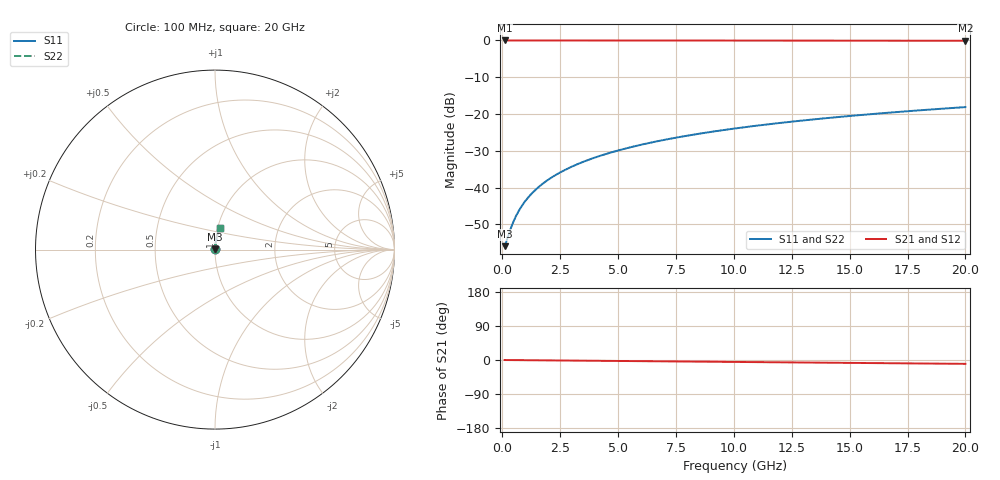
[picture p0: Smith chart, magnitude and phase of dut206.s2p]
! Touchstone file exported from HFSS 2026.1.0
!  File:  C:/ffzhzh/LocalFiles/Ansys_Project_Files/temp_train_TSV_206_1782991855_41620.aedt
!  Generated:  07:32:54 PM Jul  2, 2026
!  Design:  TSV
!  Project:  temp_train_TSV_206_1782991855_41620
! Variables:
!  h_bsmrdl = 2um
!  h_ox = 20um
!  h_rdl = 5um
!  h_sub = 67.53um
!  h_tmrdl = 5um
!  h_tsv = 67.53um
!  h_via = 3um
!  l_bsmrdl = 300um
!  l_sub = 404.64um
!  l_tmrdl = 200um
!  m_sub = 200um
!  pitch = 44.41um
!  r_tsv = 2.32um
!  s_tmrdl = 10um
!  w_bsmrdl = 18um
!  w_sub = 500um
!  w_tmrdl = 12um
!  x_tsv_center1 = 206um
!  x_tsv_center2 = 524um
!  x_tsv_center3 = 736um
!  x_tsv_center4 = 1054um
!  x_tsv_center5 = 1266um
!  x_tsv_center6 = 1584um
# GHz S MA R 50.000000
! Terminal data exported
! Port[1] = TSV1_1_T1
! Port[2] = TSV1_1_T2
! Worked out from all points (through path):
!   200 points, 100 MHz to 20 GHz, reference 50 ohm
!   highest |S21| = -0.01 dB at 100 MHz (marker M1); lowest = -0.1 dB at 20 GHz (marker M2)
!   group delay of S21, straight-line fit = 1.41 ps
!   lowest |S11| = -56.0 dB at 100 MHz (marker M3), VSWR 1.00, Z = 50.1 + j0.0647 ohm
!   |S11| at or under -10 dB: start of sweep to end of sweep
!   |S22| runs from -56.0 to -18.1 dB; largest |S21 - S12| = 3.4e-15
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0.1  0.001593 23.9  0.9985 -0.1  0.9985 -0.1  0.001593 23.9
! Gamma 0 0 0 0
! Port Impedance 50 0 50 0
0.4  0.002967 60.1  0.9985 -0.2  0.9985 -0.2  0.002967 60.1
0.5  0.003541 65.1  0.9985 -0.3  0.9985 -0.3  0.003541 65.1
0.6  0.004133 68.7  0.9985 -0.3  0.9985 -0.3  0.004133 68.7
0.7  0.004736 71.3  0.9985 -0.4  0.9985 -0.4  0.004736 71.3
0.9  0.005963 75.0  0.9985 -0.5  0.9985 -0.5  0.005963 75.0
1.2  0.007831 78.2  0.9985 -0.6  0.9985 -0.6  0.007831 78.2
1.4  0.009085 79.6  0.9984 -0.7  0.9984 -0.7  0.009085 79.6
1.7  0.01097 81.1  0.9984 -0.9  0.9984 -0.9  0.01097 81.1
2.2  0.01414 82.5  0.9983 -1.1  0.9983 -1.1  0.01414 82.5
2.8  0.01794 83.5  0.9982 -1.4  0.9982 -1.4  0.01794 83.5
3.5  0.02237 84.0  0.9981 -1.8  0.9981 -1.8  0.02237 84.0
4.2  0.02681 84.2  0.9979 -2.2  0.9979 -2.2  0.02681 84.2
5  0.03187 84.2  0.9977 -2.6  0.9977 -2.6  0.03187 84.2
5.9  0.03755 84.1  0.9974 -3.0  0.9974 -3.0  0.03755 84.1
6.8  0.04321 83.9  0.9971 -3.5  0.9971 -3.5  0.04321 83.9
8.3  0.0526 83.4  0.9965 -4.3  0.9965 -4.3  0.0526 83.4
10.1  0.0638 82.7  0.9956 -5.2  0.9956 -5.2  0.0638 82.7
11.7  0.07368 82.0  0.9947 -6.0  0.9947 -6.0  0.07368 82.0
13.4  0.08411 81.2  0.9937 -6.9  0.9937 -6.9  0.08411 81.2
16.7  0.1041 79.7  0.9914 -8.5  0.9914 -8.5  0.1041 79.7
20  0.1239 78.2  0.9888 -10.2  0.9888 -10.2  0.1239 78.2
